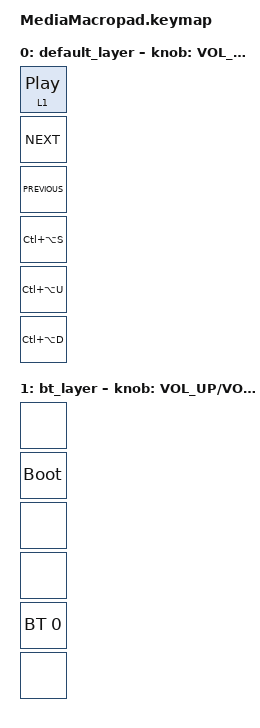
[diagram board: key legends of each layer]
#include <behaviors.dtsi>
#include <dt-bindings/zmk/keys.h>
#include <dt-bindings/zmk/bt.h>
#include <dt-bindings/zmk/outputs.h>

/ {
    keymap {
        compatible = "zmk,keymap";

        default_layer { /* Layer 0 */
            bindings = <
// |   | ^S | Previous | Next | Play/Pause |
                &lt 1 C_PLAY_PAUSE
                &kp C_NEXT
                &kp C_PREVIOUS
                &kp LC(LA(S))
                &kp LC(LA(U))
                &kp LC(LA(D))
            >;
			sensor-bindings = <
				&inc_dec_kp C_VOL_UP C_VOL_DN
			>;
		};

        bt_layer { /* Layer 1 */
            bindings = <
                &none
                &bootloader
                &none
                &none
                &bt BT_SEL 0
                &none
            >;
			sensor-bindings = <
				&inc_dec_kp C_VOL_UP C_VOL_DN
			>;
		};
    };
};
